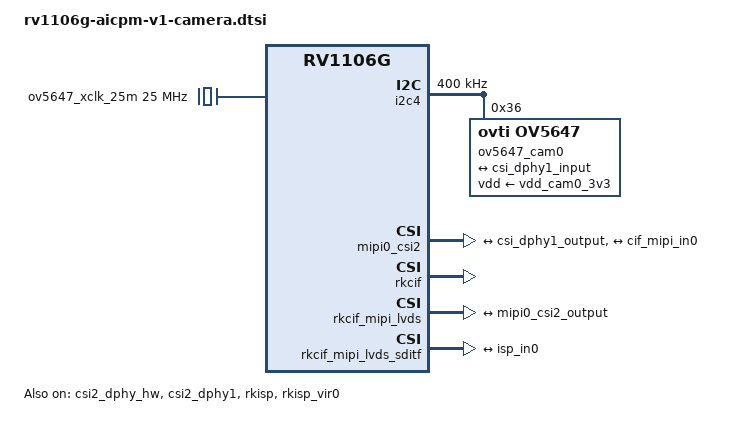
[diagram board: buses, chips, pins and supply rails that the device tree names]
// SPDX-License-Identifier: (GPL-2.0+ OR MIT)

/ {
	ov5647_xclk_25m: ov5647-xclk-25m {
		compatible = "fixed-clock";
		#clock-cells = <0>;
		clock-frequency = <25000000>;
		clock-output-names = "ov5647_xclk_25m";
	};
};

&i2c4 {
	clock-frequency = <400000>;
	pinctrl-names = "default";
	pinctrl-0 = <&i2c4m2_xfer>;
	status = "okay";

	ov5647_cam0: camera@36 {
		compatible = "ovti,ov5647";
		reg = <0x36>;
		clocks = <&ov5647_xclk_25m>;
		vdd-supply = <&vdd_cam0_3v3>;
		rockchip,camera-module-index = <0>;
		rockchip,camera-module-facing = "back";
		rockchip,camera-module-name = "HBV-RPI-AUTO-IRCUT-3.6-S1.0";
		rockchip,camera-module-lens-name = "3.6mm";
		status = "okay";

		port {
			ov5647_cam0_out: endpoint {
				remote-endpoint = <&csi_dphy1_input>;
				data-lanes = <1 2>;
			};
		};
	};
};

&i2c3 {
	clock-frequency = <400000>;
	pinctrl-names = "default";
	pinctrl-0 = <&i2c3m2_xfer>;
	status = "disabled";

	ov5647_cam1: camera@36 {
		compatible = "ovti,ov5647";
		reg = <0x36>;
		clocks = <&ov5647_xclk_25m>;
		vdd-supply = <&vdd_cam1_3v3>;
		rockchip,camera-module-index = <1>;
		rockchip,camera-module-facing = "front";
		rockchip,camera-module-name = "HBV-RPI-AUTO-IRCUT-3.6-S1.0";
		rockchip,camera-module-lens-name = "3.6mm";
		status = "disabled";

		port {
			ov5647_cam1_out: endpoint {
				remote-endpoint = <&csi_dphy2_input>;
				data-lanes = <1 2>;
			};
		};
	};
};

&csi2_dphy_hw {
	status = "okay";
};

&csi2_dphy1 {
	status = "okay";
	ports {
		#address-cells = <1>;
		#size-cells = <0>;
		port@0 {
			reg = <0>;
			csi_dphy1_input: endpoint {
				remote-endpoint = <&ov5647_cam0_out>;
				data-lanes = <1 2>;
			};
		};
		port@1 {
			reg = <1>;
			csi_dphy1_output: endpoint {
				remote-endpoint = <&mipi0_csi2_input>;
			};
		};
	};
};

&csi2_dphy2 {
	status = "disabled";
	ports {
		#address-cells = <1>;
		#size-cells = <0>;
		port@0 {
			reg = <0>;
			csi_dphy2_input: endpoint {
				remote-endpoint = <&ov5647_cam1_out>;
				data-lanes = <1 2>;
			};
		};
		port@1 {
			reg = <1>;
			csi_dphy2_output: endpoint {
				remote-endpoint = <&mipi1_csi2_input>;
			};
		};
	};
};

&mipi0_csi2 {
	status = "okay";
	ports {
		#address-cells = <1>;
		#size-cells = <0>;
		port@0 {
			#address-cells = <1>;
			#size-cells = <0>;
			reg = <0>;
			mipi0_csi2_input: endpoint@1 {
				reg = <1>;
				remote-endpoint = <&csi_dphy1_output>;
			};
		};
		port@1 {
			#address-cells = <1>;
			#size-cells = <0>;
			reg = <1>;
			mipi0_csi2_output: endpoint@0 {
				reg = <0>;
				remote-endpoint = <&cif_mipi_in0>;
			};
		};
	};
};

&mipi1_csi2 {
	status = "disabled";
	ports {
		#address-cells = <1>;
		#size-cells = <0>;
		port@0 {
			#address-cells = <1>;
			#size-cells = <0>;
			reg = <0>;
			mipi1_csi2_input: endpoint@1 {
				reg = <1>;
				remote-endpoint = <&csi_dphy2_output>;
			};
		};
		port@1 {
			#address-cells = <1>;
			#size-cells = <0>;
			reg = <1>;
			mipi1_csi2_output: endpoint@0 {
				reg = <0>;
				remote-endpoint = <&cif_mipi_in1>;
			};
		};
	};
};

&rkcif {
	pinctrl-names = "default";
	pinctrl-0 = <&mipi_pins>;
	status = "okay";
};

&rkcif_mipi_lvds {
	status = "okay";
	port {
		cif_mipi_in0: endpoint {
			remote-endpoint = <&mipi0_csi2_output>;
		};
	};
};

&rkcif_mipi_lvds_sditf {
	status = "okay";
	port {
		mipi_lvds0_sditf: endpoint {
			remote-endpoint = <&isp_in0>;
		};
	};
};

&rkcif_mipi_lvds1 {
	status = "disabled";
	port {
		cif_mipi_in1: endpoint {
			remote-endpoint = <&mipi1_csi2_output>;
		};
	};
};

&rkcif_mipi_lvds1_sditf {
	status = "disabled";
	port {
		mipi_lvds1_sditf: endpoint {
			remote-endpoint = <&isp_in1>;
		};
	};
};

&rkisp {
	status = "okay";
};

&rkisp_vir0 {
	status = "okay";
	port@0 {
		isp_in0: endpoint {
			remote-endpoint = <&mipi_lvds0_sditf>;
		};
	};
};

&rkisp_vir1 {
	status = "disabled";
	port@0 {
		isp_in1: endpoint {
			remote-endpoint = <&mipi_lvds1_sditf>;
		};
	};
};
